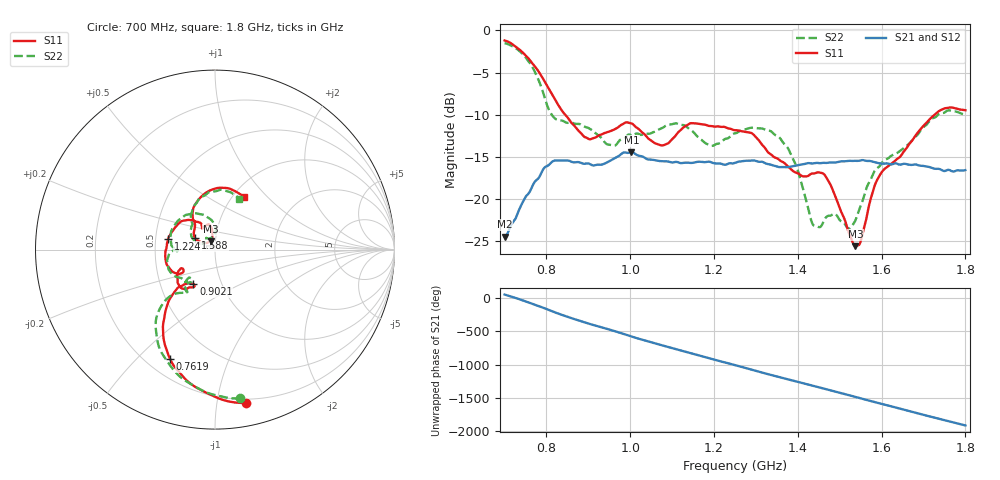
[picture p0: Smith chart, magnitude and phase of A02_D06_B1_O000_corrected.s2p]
! Created with skrf 1.9.0 (http://scikit-rf.org).
# Hz S RI R 50.0
!freq ReS11 ImS11 ReS21 ImS21 ReS12 ImS12 ReS22 ImS22
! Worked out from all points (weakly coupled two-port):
!   1601 points, 700 MHz to 1.8 GHz, reference 50 ohm
!   highest |S21| = -14.43 dB at 1.002 GHz (marker M1); lowest = -24.4 dB at 700.7 MHz (marker M2)
!   lowest |S11| = -25.6 dB at 1.537 GHz (marker M3), VSWR 1.11, Z = 47.5 + j4.49 ohm
!   |S11| at or under -10 dB: 844.7 MHz to 1.726 GHz (881.3 MHz wide, 68.6 % of centre)
!   |S22| runs from -23.5 to -1.5 dB; largest |S21 - S12| = 0.0034
!   S11 on the Smith chart (normalised r, x): 700 MHz: 0.17, -1.21; 761.9 MHz: 0.29, -0.63; 902.1 MHz: 0.73, -0.30; 1.224 GHz: 0.58, +0.08; 1.588 GHz: 0.79, +0.10; 1.8 GHz: 1.12, +0.75
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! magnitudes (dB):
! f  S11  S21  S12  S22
! 700 MHz  -1.2  -24.4  -24.2  -1.5
! 700.7 MHz  -1.2  -24.4  -24.1  -1.5
! 761.9 MHz  -3.6  -18.9  -18.9  -4.0
! 816.2 MHz  -7.8  -15.5  -15.6  -10.2
! 883.6 MHz  -12.3  -15.7  -15.6  -11.2
! 902.1 MHz  -12.9  -15.8  -15.8  -11.6
! 957.1 MHz  -11.8  -15.3  -15.3  -13.6
! 1.002 GHz  -11.0  -14.4  -14.5  -12.4
! 1.067 GHz  -13.5  -15.5  -15.4  -11.8
! 1.144 GHz  -11.0  -15.7  -15.7  -11.8
! 1.224 GHz  -11.4  -15.9  -15.9  -12.9
! 1.25 GHz  -11.8  -15.7  -15.6  -12.2
! 1.358 GHz  -15.4  -16.2  -16.2  -12.8
! 1.396 GHz  -16.9  -16.0  -16.0  -16.1
! 1.434 GHz  -17.0  -15.8  -15.7  -22.8
! 1.47 GHz  -17.6  -15.7  -15.7  -22.0
! 1.537 GHz  -25.6  -15.5  -15.5  -22.5
! 1.55 GHz  -24.9  -15.4  -15.4  -20.8
! 1.588 GHz  -17.8  -15.7  -15.7  -16.4
! 1.617 GHz  -16.0  -15.8  -15.8  -15.1
! 1.734 GHz  -9.7  -16.4  -16.5  -10.0
! 1.8 GHz  -9.5  -16.6  -16.6  -10.0
